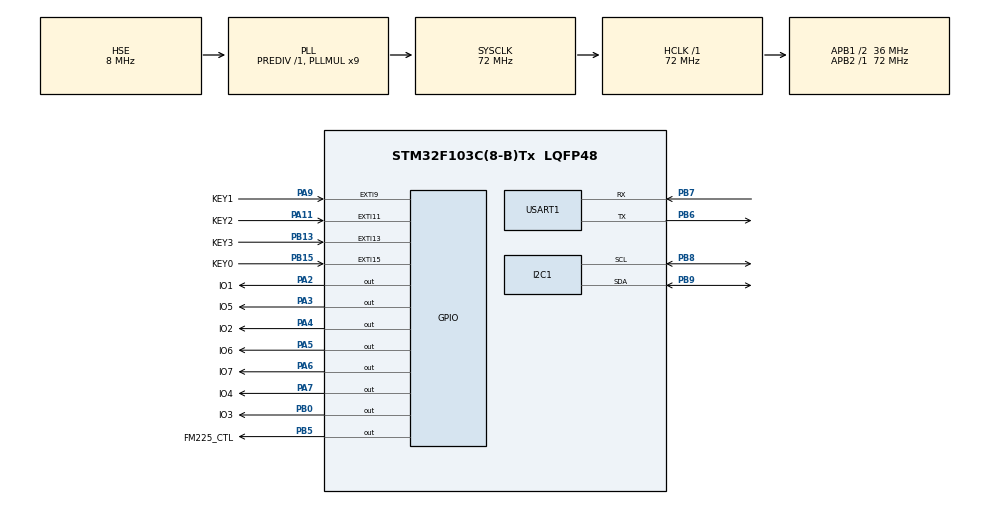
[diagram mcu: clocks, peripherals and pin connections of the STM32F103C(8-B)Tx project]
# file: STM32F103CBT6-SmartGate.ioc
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Dma.Request0=USART1_RX
Dma.Request1=USART1_TX
Dma.USART1_RX.0.Direction=DMA_PERIPH_TO_MEMORY
Dma.USART1_RX.0.Instance=DMA1_Channel5
Dma.USART1_RX.0.MemDataAlignment=DMA_MDATAALIGN_BYTE
Dma.USART1_RX.0.MemInc=DMA_MINC_ENABLE
Dma.USART1_RX.0.Mode=DMA_CIRCULAR
Dma.USART1_RX.0.PeriphDataAlignment=DMA_PDATAALIGN_BYTE
Dma.USART1_RX.0.PeriphInc=DMA_PINC_DISABLE
Dma.USART1_RX.0.Priority=DMA_PRIORITY_LOW
Dma.USART1_TX.1.Direction=DMA_MEMORY_TO_PERIPH
Dma.USART1_TX.1.Instance=DMA1_Channel4
Dma.USART1_TX.1.MemDataAlignment=DMA_MDATAALIGN_BYTE
Dma.USART1_TX.1.MemInc=DMA_MINC_ENABLE
Dma.USART1_TX.1.Mode=DMA_NORMAL
Dma.USART1_TX.1.PeriphDataAlignment=DMA_PDATAALIGN_BYTE
Dma.USART1_TX.1.PeriphInc=DMA_PINC_DISABLE
Dma.USART1_TX.1.Priority=DMA_PRIORITY_LOW
I2C1.I2C_Mode=I2C_Fast
Mcu.Family=STM32F1
Mcu.Name=STM32F103C(8-B)Tx
Mcu.Package=LQFP48
NVIC.DMA1_Channel4_IRQn=true\:0\:0\:false\:false\:true\:false\:true\:true
NVIC.DMA1_Channel5_IRQn=true\:0\:0\:false\:false\:true\:false\:true\:true
NVIC.EXTI15_10_IRQn=true\:0\:0\:false\:false\:true\:true\:true\:true
NVIC.EXTI9_5_IRQn=true\:0\:0\:false\:false\:true\:true\:true\:true
NVIC.PriorityGroup=NVIC_PRIORITYGROUP_4
NVIC.RTC_Alarm_IRQn=true\:0\:0\:false\:false\:true\:true\:true\:true
NVIC.RTC_IRQn=true\:0\:0\:false\:false\:true\:true\:true\:true
NVIC.TIM1_BRK_IRQn=true\:0\:0\:false\:false\:true\:true\:true\:true
NVIC.TIM1_CC_IRQn=true\:0\:0\:false\:false\:true\:true\:true\:true
NVIC.TIM1_TRG_COM_IRQn=true\:0\:0\:false\:false\:true\:true\:true\:true
NVIC.TIM1_UP_IRQn=true\:0\:0\:false\:false\:true\:true\:true\:true
NVIC.USART1_IRQn=true\:0\:0\:false\:false\:true\:false\:true\:true
PA11.GPIO_Label=KEY2
PA11.GPIO_ModeDefaultEXTI=GPIO_MODE_IT_FALLING
PA11.GPIO_PuPd=GPIO_PULLUP
PA11.Signal=GPXTI11
PA13.Mode=Serial_Wire
PA13.Signal=SYS_JTMS-SWDIO
PA14.Mode=Serial_Wire
PA14.Signal=SYS_JTCK-SWCLK
PA2.GPIO_Label=IO1
PA2.GPIO_ModeDefaultOutputPP=GPIO_MODE_OUTPUT_PP
PA2.GPIO_PuPd=GPIO_PULLUP
PA2.GPIO_Speed=GPIO_SPEED_FREQ_LOW
PA2.PinState=GPIO_PIN_SET
PA2.Signal=GPIO_Output
PA3.GPIO_Label=IO5
PA3.GPIO_PuPd=GPIO_PULLUP
PA3.PinState=GPIO_PIN_SET
PA3.Signal=GPIO_Output
PA4.GPIO_Label=IO2
PA4.GPIO_ModeDefaultOutputPP=GPIO_MODE_OUTPUT_PP
PA4.GPIO_PuPd=GPIO_PULLUP
PA4.PinState=GPIO_PIN_SET
PA4.Signal=GPIO_Output
PA5.GPIO_Label=IO6
PA5.GPIO_PuPd=GPIO_PULLUP
PA5.PinState=GPIO_PIN_SET
PA5.Signal=GPIO_Output
PA6.GPIO_Label=IO7
PA6.GPIO_PuPd=GPIO_PULLUP
PA6.PinState=GPIO_PIN_SET
PA6.Signal=GPIO_Output
PA7.GPIO_Label=IO4
PA7.GPIO_PuPd=GPIO_PULLUP
PA7.PinState=GPIO_PIN_SET
PA7.Signal=GPIO_Output
PA9.GPIO_Label=KEY1
PA9.GPIO_ModeDefaultEXTI=GPIO_MODE_IT_FALLING
PA9.GPIO_PuPd=GPIO_PULLUP
PA9.Signal=GPXTI9
PB0.GPIO_Label=IO3
PB0.GPIO_PuPd=GPIO_PULLUP
PB0.PinState=GPIO_PIN_SET
PB0.Signal=GPIO_Output
PB13.GPIO_Label=KEY3
PB13.GPIO_ModeDefaultEXTI=GPIO_MODE_IT_FALLING
PB13.GPIO_PuPd=GPIO_PULLUP
PB13.Signal=GPXTI13
PB15.GPIO_Label=KEY0
PB15.GPIO_ModeDefaultEXTI=GPIO_MODE_IT_FALLING
PB15.GPIO_PuPd=GPIO_PULLUP
PB15.Signal=GPXTI15
PB5.GPIO_Label=FM225_CTL
PB5.GPIO_PuPd=GPIO_NOPULL
PB5.GPIO_Speed=GPIO_SPEED_FREQ_HIGH
PB5.PinState=GPIO_PIN_RESET
PB5.Signal=GPIO_Output
PB6.Mode=Asynchronous
PB6.Signal=USART1_TX
PB7.GPIO_PuPd=GPIO_PULLUP
PB7.Mode=Asynchronous
PB7.Signal=USART1_RX
PB8.Mode=I2C
PB8.Signal=I2C1_SCL
PB9.Mode=I2C
PB9.Signal=I2C1_SDA
PC14-OSC32_IN.Mode=LSE-External-Oscillator
PC14-OSC32_IN.Signal=RCC_OSC32_IN
PC15-OSC32_OUT.Mode=LSE-External-Oscillator
PC15-OSC32_OUT.Signal=RCC_OSC32_OUT
PD0-OSC_IN.Mode=HSE-External-Oscillator
PD0-OSC_IN.Signal=RCC_OSC_IN
PD1-OSC_OUT.Mode=HSE-External-Oscillator
PD1-OSC_OUT.Signal=RCC_OSC_OUT
ProjectManager.HeapSize=0x200
ProjectManager.StackSize=0x400
ProjectManager.TargetToolchain=CMake
RCC.AHBFreq_Value=72000000
RCC.APB1CLKDivider=RCC_HCLK_DIV2
RCC.APB1Freq_Value=36000000
RCC.APB1TimFreq_Value=72000000
RCC.APB2Freq_Value=72000000
RCC.APB2TimFreq_Value=72000000
RCC.HCLKFreq_Value=72000000
RCC.PLLMUL=RCC_PLL_MUL9
RCC.PLLSourceVirtual=RCC_PLLSOURCE_HSE
RCC.RTCClockSelection=RCC_RTCCLKSOURCE_LSE
RCC.SYSCLKFreq_VALUE=72000000
RCC.SYSCLKSource=RCC_SYSCLKSOURCE_PLLCLK
RCC.USBFreq_Value=72000000
RTC.Date=28
RTC.Hours=13
RTC.Minutes=30
RTC.Month=RTC_MONTH_AUGUST
RTC.WeekDay=RTC_WEEKDAY_THURSDAY
RTC.Year=25
TIM1.Period=300-1
TIM1.Prescaler=7200-1
USART1.VirtualMode=VM_ASYNC
VP_RTC_VS_RTC_Activate.Mode=RTC_Enabled
VP_RTC_VS_RTC_Calendar.Mode=RTC_Calendar
VP_TIM1_VS_ClockSourceINT.Mode=Internal
board=custom

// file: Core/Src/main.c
/* USER CODE BEGIN Header */
/**
 ******************************************************************************
 * @file           : main.c
 * @brief          : Main program body
 ******************************************************************************
 * @attention
 *
 * Copyright (c) 2025 STMicroelectronics.
 * All rights reserved.
 *
 * This software is licensed under terms that can be found in the LICENSE file
 * in the root directory of this software component.
 * If no LICENSE file comes with this software, it is provided AS-IS.
 *
 ******************************************************************************
 */
/* USER CODE END Header */
#include "main.h"
#include "dma.h"
#include "i2c.h"
#include "rtc.h"
#include "tim.h"
#include "usart.h"
#include "gpio.h"

/* USER CODE BEGIN Includes */
#include "fm225.h"
#include "oled.h"
#include <stdint.h>
#include <stdio.h>
#include <string.h>

/* USER CODE END Includes */

/* USER CODE BEGIN PV */
uint8_t KEY0_PRESSED = 0;
uint8_t KEY1_PRESSED = 0;
uint8_t KEY2_PRESSED = 0;
uint8_t KEY3_PRESSED = 0;
uint8_t g_user_name = 1;
uint8_t g_delete_id = 1;

int menu_main();
int menu_enroll();
int menu_verify();
int menu_delete();
void OLED_ShowTime();
int (*menu)() = &menu_main;
/* USER CODE END PV */

void SystemClock_Config(void);

int main(void)
{

  /* MCU Configuration--------------------------------------------------------*/

  /* Reset of all peripherals, Initializes the Flash interface and the Systick. */
  HAL_Init();

  /* Configure the system clock */
  SystemClock_Config();

  /* Initialize all configured peripherals */
  MX_GPIO_Init();
  MX_DMA_Init();
  MX_I2C1_Init();
  MX_RTC_Init();
  MX_USART1_UART_Init();
  MX_TIM1_Init();
  /* USER CODE BEGIN 2 */
  rtc_init_user();                             // RTC初始化
  __HAL_UART_ENABLE_IT(&huart1, UART_IT_IDLE); // 使能串口IDLE中断
  HAL_UARTEx_ReceiveToIdle_DMA(&huart1, (uint8_t *)RX_BUFFER, RX_BUFF_SIZE);
  HAL_TIM_Base_Start_IT(&htim1); // 按键消抖

  HAL_Delay(200); // 等待系统稳定
  OLED_Init(); // OLED初始化
  OLED_ShowTime(); // 显示时间
  /* USER CODE END 2 */

  /* Infinite loop */
  /* USER CODE BEGIN WHILE */
  while (1) {
    if (KEY1_PRESSED == 1) {
      menu = menu_main;
    }
    if (KEY3_PRESSED == 1) {
      menu = menu_enroll;
    }
    if (KEY2_PRESSED == 1) {
      menu = menu_verify;
    }
    if (KEY0_PRESSED == 1) {
      menu = menu_delete;
    }
    if (menu != NULL) {
      KEY0_PRESSED = 0;
      KEY1_PRESSED = 0;
      KEY2_PRESSED = 0;
      KEY3_PRESSED = 0;
      menu();
    }
    /* USER CODE END WHILE */

  }
}

void SystemClock_Config(void)
{
  RCC_OscInitTypeDef RCC_OscInitStruct = {0};
  RCC_ClkInitTypeDef RCC_ClkInitStruct = {0};
  RCC_PeriphCLKInitTypeDef PeriphClkInit = {0};

  /** Initializes the RCC Oscillators according to the specified parameters
  * in the RCC_OscInitTypeDef structure.
  */
  RCC_OscInitStruct.OscillatorType = RCC_OSCILLATORTYPE_HSE|RCC_OSCILLATORTYPE_LSE;
  RCC_OscInitStruct.HSEState = RCC_HSE_ON;
  RCC_OscInitStruct.HSEPredivValue = RCC_HSE_PREDIV_DIV1;
  RCC_OscInitStruct.LSEState = RCC_LSE_ON;
  RCC_OscInitStruct.HSIState = RCC_HSI_ON;
  RCC_OscInitStruct.PLL.PLLState = RCC_PLL_ON;
  RCC_OscInitStruct.PLL.PLLSource = RCC_PLLSOURCE_HSE;
  RCC_OscInitStruct.PLL.PLLMUL = RCC_PLL_MUL9;
  if (HAL_RCC_OscConfig(&RCC_OscInitStruct) != HAL_OK)
  {
    Error_Handler();
  }

  /** Initializes the CPU, AHB and APB buses clocks
  */
  RCC_ClkInitStruct.ClockType = RCC_CLOCKTYPE_HCLK|RCC_CLOCKTYPE_SYSCLK
                              |RCC_CLOCKTYPE_PCLK1|RCC_CLOCKTYPE_PCLK2;
  RCC_ClkInitStruct.SYSCLKSource = RCC_SYSCLKSOURCE_PLLCLK;
  RCC_ClkInitStruct.AHBCLKDivider = RCC_SYSCLK_DIV1;
  RCC_ClkInitStruct.APB1CLKDivider = RCC_HCLK_DIV2;
  RCC_ClkInitStruct.APB2CLKDivider = RCC_HCLK_DIV1;

  if (HAL_RCC_ClockConfig(&RCC_ClkInitStruct, FLASH_LATENCY_2) != HAL_OK)
  {
    Error_Handler();
  }
  PeriphClkInit.PeriphClockSelection = RCC_PERIPHCLK_RTC;
  PeriphClkInit.RTCClockSelection = RCC_RTCCLKSOURCE_LSE;
  if (HAL_RCCEx_PeriphCLKConfig(&PeriphClkInit) != HAL_OK)
  {
    Error_Handler();
  }
}

/* USER CODE BEGIN 4 */

// 计算 BCC 异或校验码的函数
uint8_t calculateBCC(uint8_t *data, int length) {
  uint8_t bcc = 0;
  for (int i = 0; i < length; i++) {
    // 对每个字节进行异或操作
    bcc ^= data[i];
  }
  return bcc;
}

int menu_main() {
  menu = NULL;
  OLED_FillRect(0, 16, 128, 64, 0); // 清空2~7行

  OLED_ShowChinese(32, 16, 0, 0);
  OLED_ShowChinese(48, 16, 1, 0);
  OLED_ShowChinese(64, 16, 6, 0);
  OLED_ShowChinese(80, 16, 7, 0);

  OLED_ShowChinese(32, 32, 4, 0);
  OLED_ShowChinese(48, 32, 5, 0);
  OLED_ShowChinese(64, 32, 6, 0);
  OLED_ShowChinese(80, 32, 7, 0);

  OLED_ShowChinese(32, 48, 2, 0);
  OLED_ShowChinese(48, 48, 3, 0);
  OLED_ShowChinese(64, 48, 6, 0);
  OLED_ShowChinese(80, 48, 7, 0);
  OLED_Refresh();
  return 0;
}
int menu_enroll() {
  OLED_FillRect(0, 16, 128, 64, 0); // 清空2~7行

  OLED_ShowChinese(0, 16, 8, 0);   // 再
  OLED_ShowChinese(16, 16, 9, 0);  // 按
  OLED_ShowChinese(32, 16, 10, 0); // 一
  OLED_ShowChinese(48, 16, 3, 0); // 次

  OLED_ShowChinese(64, 16, 0, 0);  // 注
  OLED_ShowChinese(80, 16, 1, 0);  // 册
  OLED_ShowChinese(96, 16, 6, 0);  // 人
  OLED_ShowChinese(112, 16, 7, 0); // 脸

  OLED_ShowChinese(32, 32, 12, 0); // 序
  OLED_ShowChinese(48, 32, 13, 0); // 号
  OLED_ShowChinese(64, 32, 14, 0); // ：
  OLED_ShowNum(80, 32, g_user_name, 2, 16, 0);
  OLED_Refresh();

  while (1) {
    if (KEY3_PRESSED == 1) {
      KEY3_PRESSED = 0;
      OLED_FillRect(0, 16, 128, 64, 0); // 清空2~7行

      OLED_ShowChinese(40, 16, 0, 0);  // 注
      OLED_ShowChinese(56, 16, 1, 0);  // 册
      OLED_ShowChinese(72, 16, 15, 0); // 中

      OLED_ShowChinese(16, 32, 35, 0); // 设
      OLED_ShowChinese(32, 32, 36, 0); // 备
      OLED_ShowChinese(48, 32, 33, 0); // 正
      OLED_ShowChinese(64, 32, 39, 0); // 在
      OLED_ShowChinese(80, 32, 37, 0); // 连
      OLED_ShowChinese(96, 32, 38, 0); // 接
      OLED_Refresh();

      // 重置 user_buffer 和 user_buffer_len
      user_buffer_len = 0;
      memset(user_buffer, 0x00, sizeof(user_buffer));

      HAL_GPIO_WritePin(FM225_CTL_GPIO_Port, FM225_CTL_Pin,GPIO_PIN_SET); // 打开FM225的电源

      uint8_t ready_msg[7] = {0XEF, 0XAA, 0X01, 0X00, 0X01, 0X00, 0X00};

      // 等待收到开机准备好的消息
      while (strcmp((const char *)user_buffer, (const char *)ready_msg) != 0) {
        if (KEY2_PRESSED == 1) {
          KEY2_PRESSED = 0;
        }

        if (KEY0_PRESSED == 1) {
          KEY0_PRESSED = 0;
        }
        if (KEY3_PRESSED == 1) {
          KEY3_PRESSED = 0;
        }
        if (KEY1_PRESSED == 1) {
          KEY1_PRESSED = 0;
          HAL_GPIO_WritePin(FM225_CTL_GPIO_Port, FM225_CTL_Pin,GPIO_PIN_RESET); // 关闭FM225的电源
          menu = menu_main;
          return 0;
        }
      }

      uint8_t user_name[32] = {0};
      memset(user_name, 0x00, sizeof(user_name));
      user_name[0] = g_user_name;
      face_enroll(0x01, user_name, FACE_DIRECTION_UNDEFINED, 0x01, 0x00, 10);

      // 等待收到验证结果
      while (1) {
        if (user_buffer[2] == 0X01 && user_buffer[3] == 0X00 &&
            user_buffer[4] == 0X11 && user_buffer[5] == 0X01 &&
            user_buffer[6] == 0X01) {
          // 重置 user_buffer 和 user_buffer_len
          user_buffer_len = 0;
          memset(user_buffer, 0x00, sizeof(user_buffer));
          OLED_FillRect(0, 16, 128, 64, 0); // 清空2~7行
          OLED_ShowChinese(16, 16, 29, 0); // 未
          OLED_ShowChinese(32, 16, 30, 0); // 检
          OLED_ShowChinese(48, 16, 31, 0); // 测
          OLED_ShowChinese(64, 16, 32, 0); // 到
          OLED_ShowChinese(80, 16, 6, 0);  // 人
          OLED_ShowChinese(96, 16, 7, 0);  // 脸
          OLED_Refresh();
        }
        if (user_buffer[2] == 0X01 && user_buffer[3] == 0X00 &&
            user_buffer[4] == 0X11 && user_buffer[5] == 0X01 &&
            user_buffer[6] == 0X00) {
          // 重置 user_buffer 和 user_buffer_len
          user_buffer_len = 0;
          memset(user_buffer, 0x00, sizeof(user_buffer));

          OLED_FillRect(0, 16, 128, 64, 0); // 清空2~7行
          OLED_ShowChinese(32, 16, 6, 0);  // 人
          OLED_ShowChinese(48, 16, 7, 0);  // 脸
          OLED_ShowChinese(64, 16, 33, 0); // 正
          OLED_ShowChinese(80, 16, 34, 0); // 常
          OLED_Refresh();
        }
        if ((user_buffer[2] == 0X00) && (user_buffer[5] == CMD_ENROLL_ITG) &&
            (user_buffer[6] == 0X0A)) {

          user_buffer_len = 0;
          memset(user_buffer, 0x00, sizeof(user_buffer));

          // 播放人脸已录入语音
          HAL_GPIO_WritePin(IO3_GPIO_Port, IO3_Pin, GPIO_PIN_RESET);

          // 关闭FM225的电源
          HAL_GPIO_WritePin(FM225_CTL_GPIO_Port, FM225_CTL_Pin, GPIO_PIN_RESET);
          OLED_FillRect(0, 16, 128, 64, 0); // 清空2~7行

          OLED_ShowChinese(24, 16, 6, 0);  // 人
          OLED_ShowChinese(40, 16, 7, 0);  // 脸
          OLED_ShowChinese(56, 16, 20, 0); // 已
          OLED_ShowChinese(72, 16, 21, 0); // 录
          OLED_ShowChinese(88, 16, 22, 0); // 入
          OLED_Refresh();

          while (1) {
            if (KEY3_PRESSED == 1) {
              KEY3_PRESSED = 0;
            }
            if (KEY2_PRESSED == 1) {
              KEY2_PRESSED = 0;
            }

            if (KEY0_PRESSED == 1) {
              KEY0_PRESSED = 0;
            }
            if (KEY1_PRESSED == 1) {
              KEY1_PRESSED = 0;
              HAL_GPIO_WritePin(IO3_GPIO_Port, IO3_Pin, GPIO_PIN_SET);
              menu = menu_main;
              return 0;
            }
          }
        } else if ((user_buffer[2] == 0X00) &&
                   (user_buffer[5] == CMD_ENROLL_ITG) &&
                   (user_buffer[6] == 0X00) && (user_buffer[8] != 0X00)) {

          // 重置 user_buffer 和 user_buffer_len
          user_buffer_len = 0;
          memset(user_buffer, 0x00, sizeof(user_buffer));

          // 播放录入成功语音
          HAL_GPIO_WritePin(IO1_GPIO_Port, IO1_Pin, GPIO_PIN_RESET);

          // 关闭FM225的电源
          HAL_GPIO_WritePin(FM225_CTL_GPIO_Port, FM225_CTL_Pin, GPIO_PIN_RESET);
          OLED_FillRect(0, 16, 128, 64, 0); // 清空2~7行
          OLED_ShowChinese(32, 16, 21, 0); // 录
          OLED_ShowChinese(48, 16, 22, 0); // 入
          OLED_ShowChinese(64, 16, 16, 0); // 成
          OLED_ShowChinese(80, 16, 17, 0); // 功
          OLED_Refresh();

          while (1) {
            if (KEY3_PRESSED == 1) {
              KEY3_PRESSED = 0;
            }
            if (KEY2_PRESSED == 1) {
              KEY2_PRESSED = 0;
            }

            if (KEY0_PRESSED == 1) {
              KEY0_PRESSED = 0;
            }
            if (KEY1_PRESSED == 1) {
              KEY1_PRESSED = 0;
              HAL_GPIO_WritePin(IO1_GPIO_Port, IO1_Pin, GPIO_PIN_SET);
              menu = menu_main;
              return 0;
            }
          }
        } else if ((user_buffer[2] == 0X00) &&
                   (user_buffer[5] == CMD_ENROLL_ITG) &&
                   (user_buffer[6] == 0X0D)) {

          // 重置 user_buffer 和 user_buffer_len
          user_buffer_len = 0;
          memset(user_buffer, 0x00, sizeof(user_buffer));

          // 播放录入失败语音
          HAL_GPIO_WritePin(IO2_GPIO_Port, IO2_Pin, GPIO_PIN_RESET);

          // 关闭FM225的电源
          HAL_GPIO_WritePin(FM225_CTL_GPIO_Port, FM225_CTL_Pin, GPIO_PIN_RESET);
          OLED_FillRect(0, 16, 128, 64, 0); // 清空2~7行
          OLED_ShowChinese(32, 16, 21, 0);
          OLED_ShowChinese(48, 16, 22, 0);
          OLED_ShowChinese(64, 16, 18, 0);
          OLED_ShowChinese(80, 16, 19, 0);
          OLED_Refresh();

          while (1) {
            if (KEY3_PRESSED == 1) {
              KEY3_PRESSED = 0;
            }
            if (KEY2_PRESSED == 1) {
              KEY2_PRESSED = 0;
            }

            if (KEY0_PRESSED == 1) {
              KEY0_PRESSED = 0;
            }
            if (KEY1_PRESSED == 1) {
              KEY1_PRESSED = 0;
              HAL_GPIO_WritePin(IO2_GPIO_Port, IO2_Pin, GPIO_PIN_SET);
              menu = menu_main;
              return 0;
            }
          }
        }
        if (KEY2_PRESSED == 1) {
          KEY2_PRESSED = 0;
        }
        if (KEY3_PRESSED == 1) {
          KEY3_PRESSED = 0;
        }
        if (KEY0_PRESSED == 1) {
          KEY0_PRESSED = 0;
        }
        if (KEY1_PRESSED == 1) {
          KEY1_PRESSED = 0;
          HAL_GPIO_WritePin(FM225_CTL_GPIO_Port, FM225_CTL_Pin,GPIO_PIN_RESET); // 关闭FM225的电源
          menu = menu_main;
          return 0;
        }
      }
    }
    if (KEY2_PRESSED == 1) {
      KEY2_PRESSED = 0;
      if (g_user_name < 99) {
        g_user_name++;
        OLED_ShowNum(80, 32, g_user_name, 2, 16, 0);
        OLED_Refresh();
      }
    }
    if (KEY0_PRESSED == 1) {
      KEY0_PRESSED = 0;
      if (g_user_name > 1) {
        g_user_name--;
        OLED_ShowNum(80, 32, g_user_name, 2, 16, 0);
        OLED_Refresh();
      }
    }
    if (KEY1_PRESSED == 1) {

      KEY1_PRESSED = 0;
      HAL_GPIO_WritePin(FM225_CTL_GPIO_Port, FM225_CTL_Pin,GPIO_PIN_RESET); // 关闭FM225的电源
      menu = menu_main;
      return 0;
    }
  }
}
int menu_verify() {
  while (1) {

    OLED_FillRect(0, 16, 128, 64, 0); // 清空2~7行

    OLED_ShowChinese(40, 16, 2, 0);  // 验
    OLED_ShowChinese(56, 16, 3, 0);  // 证
    OLED_ShowChinese(72, 16, 15, 0); // 中

    OLED_ShowChinese(16, 16, 35, 0); // 设
    OLED_ShowChinese(32, 16, 36, 0); // 备
    OLED_ShowChinese(48, 16, 33, 0); // 正
    OLED_ShowChinese(64, 16, 39, 0); // 在
    OLED_ShowChinese(80, 16, 37, 0); // 连
    OLED_ShowChinese(96, 16, 38, 0); // 接
    OLED_Refresh();

    // 重置 user_buffer 和 user_buffer_len
    user_buffer_len = 0;
    memset(user_buffer, 0x00, sizeof(user_buffer));

    HAL_GPIO_WritePin(FM225_CTL_GPIO_Port, FM225_CTL_Pin, GPIO_PIN_SET);

    uint8_t ready_msg[7] = {0XEF, 0XAA, 0X01, 0X00, 0X01, 0X00, 0X00};

    // 等待收到开机准备好的消息
    while (strcmp((const char *)user_buffer, (const char *)ready_msg) != 0) {
      if (KEY2_PRESSED == 1) {
        KEY2_PRESSED = 0;
      }

      if (KEY0_PRESSED == 1) {
        KEY0_PRESSED = 0;
      }
      if (KEY3_PRESSED == 1) {
        KEY3_PRESSED = 0;
      }
      if (KEY1_PRESSED == 1) {
        KEY1_PRESSED = 0;
        HAL_GPIO_WritePin(FM225_CTL_GPIO_Port, FM225_CTL_Pin,GPIO_PIN_RESET); // 关闭FM225的电源
        menu = menu_main;
        return 0;
      }
    }

    // 调用验证函数
    face_verify(0x01, 10);

    while (1) {
      if (user_buffer[2] == 0X01 && user_buffer[3] == 0X00 &&
          user_buffer[4] == 0X11 && user_buffer[5] == 0X01 &&
          user_buffer[6] == 0X01) {
        // 重置 user_buffer 和 user_buffer_len
        user_buffer_len = 0;
        memset(user_buffer, 0x00, sizeof(user_buffer));
        OLED_FillRect(0, 16, 128, 64, 0); // 清空2~7行
        OLED_ShowChinese(16, 16, 29, 0); // 未
        OLED_ShowChinese(32, 16, 30, 0); // 检
        OLED_ShowChinese(48, 16, 31, 0); // 测
        OLED_ShowChinese(64, 16, 32, 0); // 到
        OLED_ShowChinese(80, 16, 6, 0);  // 人
        OLED_ShowChinese(96, 16, 7, 0);  // 脸
        OLED_Refresh();
      }
      if (user_buffer[2] == 0X01 && user_buffer[3] == 0X00 &&
          user_buffer[4] == 0X11 && user_buffer[5] == 0X01 &&
          user_buffer[6] == 0X00) {
        // 重置 user_buffer 和 user_buffer_len
        user_buffer_len = 0;
        memset(user_buffer, 0x00, sizeof(user_buffer));

        OLED_FillRect(0, 16, 128, 64, 0); // 清空2~7行

        OLED_ShowChinese(32, 16, 6, 0);  // 人
        OLED_ShowChinese(48, 16, 7, 0);  // 脸
        OLED_ShowChinese(64, 16, 33, 0); // 正
        OLED_ShowChinese(80, 16, 34, 0); // 常
        OLED_Refresh();
      }

      if (user_buffer[2] == 0X00 && user_buffer[5] == CMD_VERIFY_FACE &&
          user_buffer[6] == 0X00 && user_buffer[8] != 0X00) {

        // 播放验证成功语音
        HAL_GPIO_WritePin(IO5_GPIO_Port, IO5_Pin,GPIO_PIN_RESET);

        // 关闭FM225电源
        HAL_GPIO_WritePin(FM225_CTL_GPIO_Port, FM225_CTL_Pin,GPIO_PIN_RESET);

        // 重置 user_buffer 和 user_buffer_len
        user_buffer_len = 0;
        memset(user_buffer, 0x00, sizeof(user_buffer));

        uint8_t id = user_buffer[8];
        OLED_ShowNum(72, 16, user_buffer[8], 2, 16, 0);
        OLED_Refresh();

        OLED_FillRect(0, 16, 128, 64, 0); // 清空2~7行
        OLED_ShowChinese(32, 16, 2, 0);  // 验
        OLED_ShowChinese(48, 16, 3, 0);  // 证
        OLED_ShowChinese(64, 16, 16, 0); // 成
        OLED_ShowChinese(80, 16, 17, 0); // 功

        OLED_ShowChinese(24, 32, 25, 0); // 库
        OLED_ShowChinese(40, 32, 26, 0); // 中
        OLED_ShowChinese(56, 32, 27, 0); // 第
        OLED_ShowNum(72, 32, id, 2, 16, 0);
        OLED_ShowChinese(88, 32, 28, 0); // 个
        OLED_Refresh();
      }
      if (user_buffer[2] == 0X00 && user_buffer[5] == CMD_VERIFY_FACE &&
          user_buffer[6] == 0X0D) {

        // 播放验证失败语音
        HAL_GPIO_WritePin(IO6_GPIO_Port, IO6_Pin,GPIO_PIN_RESET);

        // 关闭FM225电源
        HAL_GPIO_WritePin(FM225_CTL_GPIO_Port, FM225_CTL_Pin,GPIO_PIN_RESET);

        // 重置 user_buffer 和 user_buffer_len
        user_buffer_len = 0;
        memset(user_buffer, 0x00, sizeof(user_buffer));

        OLED_Clear(0);           // 清空2~3行
        OLED_ShowChinese(32, 16, 2, 0);  // 验
        OLED_ShowChinese(48, 16, 3, 0);  // 证
        OLED_ShowChinese(64, 16, 18, 0); // 失
        OLED_ShowChinese(80, 16, 19, 0); // 败
      }
      if (KEY2_PRESSED == 1) {
        KEY2_PRESSED = 0;
      }

      if (KEY0_PRESSED == 1) {
        KEY0_PRESSED = 0;
      }
      if (KEY3_PRESSED == 1) {
        KEY3_PRESSED = 0;
      }
      if (KEY1_PRESSED == 1) {
        KEY1_PRESSED = 0;
        HAL_GPIO_WritePin(IO5_GPIO_Port, IO5_Pin, GPIO_PIN_SET);
        HAL_GPIO_WritePin(IO6_GPIO_Port, IO6_Pin, GPIO_PIN_SET);
        HAL_GPIO_WritePin(FM225_CTL_GPIO_Port, FM225_CTL_Pin, GPIO_PIN_RESET);
        menu = menu_main;
        return 0;
      }
    }
  }
}
int menu_delete() {

  OLED_FillRect(0, 16, 128, 64, 0); // 清空2~7行

  OLED_ShowChinese(0, 16, 8, 0);   // 再
  OLED_ShowChinese(16, 16, 9, 0);  // 按
  OLED_ShowChinese(32, 16, 10, 0); // 一
  OLED_ShowChinese(48, 16, 11, 0); // 次

  OLED_ShowChinese(64, 16, 4, 0);  // 注
  OLED_ShowChinese(80, 16, 5, 0);  // 册
  OLED_ShowChinese(96, 16, 6, 0);  // 人
  OLED_ShowChinese(112,16, 7, 0);  // 脸

  OLED_ShowChinese(24, 32, 25, 0); // 库
  OLED_ShowChinese(40, 32, 26, 0); // 中
  OLED_ShowChinese(56, 32, 27, 0); // 第
  OLED_ShowNum(72, 32, g_delete_id, 2, 16, 0);
  OLED_ShowChinese(88, 32, 28, 0); // 个
  OLED_Refresh();

  while (1) {
    if (KEY0_PRESSED == 1) {
      KEY0_PRESSED = 0;
      OLED_FillRect(0, 16, 128, 64, 0); // 清空2~7行

      OLED_ShowChinese(40, 16, 4, 0);  // 删
      OLED_ShowChinese(56, 16, 5, 0);  // 除
      OLED_ShowChinese(72, 16, 15, 0); // 中

      OLED_ShowChinese(16, 32, 35, 0); // 设
      OLED_ShowChinese(32, 32, 36, 0); // 备
      OLED_ShowChinese(48, 32, 33, 0); // 正
      OLED_ShowChinese(64, 32, 39, 0); // 在
      OLED_ShowChinese(80, 32, 37, 0); // 连
      OLED_ShowChinese(96, 32, 38, 0); // 接
      OLED_Refresh();

      // 重置 user_buffer 和 user_buffer_len
      user_buffer_len = 0;
      memset(user_buffer, 0x00, sizeof(user_buffer));

      HAL_GPIO_WritePin(FM225_CTL_GPIO_Port, FM225_CTL_Pin,GPIO_PIN_SET); // 打开FM225的电源
      uint8_t ready_msg[7] = {0XEF, 0XAA, 0X01, 0X00, 0X01, 0X00, 0X00};

      // 等待收到开机准备好的消息
      while (strcmp((const char *)user_buffer, (const char *)ready_msg) != 0) {
        if (KEY2_PRESSED == 1) {
          KEY2_PRESSED = 0;
        }

        if (KEY0_PRESSED == 1) {
          KEY0_PRESSED = 0;
        }
        if (KEY3_PRESSED == 1) {
          KEY3_PRESSED = 0;
        }
        if (KEY1_PRESSED == 1) {
          KEY1_PRESSED = 0;
          HAL_GPIO_WritePin(FM225_CTL_GPIO_Port, FM225_CTL_Pin,GPIO_PIN_RESET); // 关闭FM225的电源
          menu = menu_main;
          return 0;
        }
      }

      if (g_delete_id == 0) {
        face_delete_all();

      } else {
        face_delete_user(g_delete_id);
      }
      while (1) {

        if (user_buffer[2] == 0X00 && user_buffer[5] == CMD_DELETE_USER &&
            user_buffer[6] == 0X00) {

          // 重置 user_buffer 和 user_buffer_len
          user_buffer_len = 0;
          memset(user_buffer, 0x00, sizeof(user_buffer));

          // 播放删除成功语音
          HAL_GPIO_WritePin(IO7_GPIO_Port, IO7_Pin, GPIO_PIN_RESET);

          OLED_FillRect(0, 16, 128, 64, 0); // 清空2~7行

          OLED_ShowChinese(32, 16, 4, 0);  // 删
          OLED_ShowChinese(48, 16, 5, 0);  // 除
          OLED_ShowChinese(64, 16, 16, 0); // 成
          OLED_ShowChinese(80, 16, 17, 0); // 功
          OLED_Refresh();

          HAL_GPIO_WritePin(FM225_CTL_GPIO_Port, FM225_CTL_Pin,GPIO_PIN_RESET); // 关闭FM225的电源
        }

        if (user_buffer[2] == 0X00 && user_buffer[5] == CMD_DELETE_FACE &&
            user_buffer[6] == 0X00) {

          // 重置 user_buffer 和 user_buffer_len
          user_buffer_len = 0;
          memset(user_buffer, 0x00, sizeof(user_buffer));

          // 播放删除成功语音
          HAL_GPIO_WritePin(IO7_GPIO_Port, IO7_Pin, GPIO_PIN_RESET);

          OLED_Clear(0); // 清空2~5行

          OLED_ShowChinese(32, 16, 4, 0);  // 删
          OLED_ShowChinese(48, 16, 5, 0);  // 除
          OLED_ShowChinese(64, 16, 16, 0); // 成
          OLED_ShowChinese(80, 16, 17, 0); // 功
          OLED_Refresh();

          HAL_GPIO_WritePin(FM225_CTL_GPIO_Port, FM225_CTL_Pin,GPIO_PIN_RESET); // 关闭FM225的电源
        }

        if (KEY3_PRESSED == 1) {
          KEY3_PRESSED = 0;
        }

        if (KEY2_PRESSED == 1) {
          KEY2_PRESSED = 0;
        }

        if (KEY0_PRESSED == 1) {
          KEY0_PRESSED = 0;
        }
        if (KEY1_PRESSED == 1) {
          KEY1_PRESSED = 0;
          HAL_GPIO_WritePin(IO7_GPIO_Port, IO7_Pin, GPIO_PIN_SET);
          HAL_GPIO_WritePin(FM225_CTL_GPIO_Port, FM225_CTL_Pin, GPIO_PIN_RESET); // 关闭FM225的电源
          menu = menu_main;
          return 0;
        }
      }
    }
    if (KEY3_PRESSED == 1) {
      KEY3_PRESSED = 0;
      if (g_delete_id < 99) {
        g_delete_id++;
        OLED_ShowNum(72, 32, g_delete_id, 2, 16, 0);
        OLED_Refresh();
      }
    }
    if (KEY2_PRESSED == 1) {
      KEY2_PRESSED = 0;
      if (g_delete_id > 0) {
        g_delete_id--;
        OLED_ShowNum(72, 32, g_delete_id, 2, 16, 0);
        OLED_Refresh();
      }
    }
    if (KEY1_PRESSED == 1) {
      KEY1_PRESSED = 0;
      HAL_GPIO_WritePin(FM225_CTL_GPIO_Port, FM225_CTL_Pin, GPIO_PIN_RESET);
      menu = menu_main;
      return 0;
    }
  }
}
void OLED_ShowTime(void) {
  char buf[50]; // 存放 "YYYY-MM-DD HH:MM"

  /* 获取 RTC 当前时间和日期 */
  RTC_GetTime();

  /* 格式化日期 + 时分 */
  memset(buf, 0, sizeof(buf));
  sprintf(buf, "%04d-%02d-%02d %02d:%02d", date_info[0], date_info[1],
          date_info[2], date_info[3], date_info[4]);

  /* 显示在 OLED 第一行 */
  OLED_ShowString(0, 0, buf, 16, 0);
  OLED_Refresh();
}

/* 定时器中断回调函数 */
void HAL_TIM_PeriodElapsedCallback(TIM_HandleTypeDef *htim) {
  if (htim->Instance == TIM1) {
    /* 停止定时器 */
    HAL_TIM_Base_Stop_IT(&htim1);

    /* 读取按键状态 */
    if (HAL_GPIO_ReadPin(KEY0_GPIO_Port, KEY0_Pin) == GPIO_PIN_RESET) {
      KEY0_PRESSED = 1;
    }
    if (HAL_GPIO_ReadPin(KEY1_GPIO_Port, KEY1_Pin) == GPIO_PIN_RESET) {
      KEY1_PRESSED = 1;
    }
    if (HAL_GPIO_ReadPin(KEY2_GPIO_Port, KEY2_Pin) == GPIO_PIN_RESET) {
      KEY2_PRESSED = 1;
    }
    if (HAL_GPIO_ReadPin(KEY3_GPIO_Port, KEY3_Pin) == GPIO_PIN_RESET) {
      KEY3_PRESSED = 1;
    }
  }
}
// 外部中断回调函数
void HAL_GPIO_EXTI_Callback(uint16_t GPIO_Pin) {
  // 检查是否为有效按键引脚
  if (GPIO_Pin == KEY0_Pin || GPIO_Pin == KEY1_Pin || GPIO_Pin == KEY2_Pin ||
      GPIO_Pin == KEY3_Pin) {
    // 清除定时器计数并启动定时器
    __HAL_TIM_SET_COUNTER(&htim1, 0);
    HAL_TIM_Base_Start_IT(&htim1);
  }
}
// UART接收事件回调函数
void HAL_UARTEx_RxEventCallback(UART_HandleTypeDef *huart, uint16_t Size) {
  if (huart->Instance == USART1) {

    HAL_UART_DMAStop(&huart1);

    // 保存数据
    memcpy(user_buffer, RX_BUFFER, Size);

    user_buffer_len = Size;

    // 再清空
    memset(RX_BUFFER, 0x00, sizeof(RX_BUFFER));

    HAL_UARTEx_ReceiveToIdle_DMA(&huart1, RX_BUFFER, RX_BUFF_SIZE);
  }
}
// RTC秒中断回调函数
void HAL_RTCEx_RTCEventCallback(RTC_HandleTypeDef *hrtc) { OLED_ShowTime(); }
/* USER CODE END 4 */

void Error_Handler(void)
{
  __disable_irq();
  while (1) {
  }
}
#ifdef USE_FULL_ASSERT
/**
  * @brief  Reports the name of the source file and the source line number
  *         where the assert_param error has occurred.
  * @param  file: pointer to the source file name
  * @param  line: assert_param error line source number
  * @retval None
  */
void assert_failed(uint8_t *file, uint32_t line)
{
  /* USER CODE BEGIN 6 */
  /* User can add his own implementation to report the file name and line
     number, ex: printf("Wrong parameters value: file %s on line %d\r\n", file,
     line) */
  /* USER CODE END 6 */
}
#endif /* USE_FULL_ASSERT */
